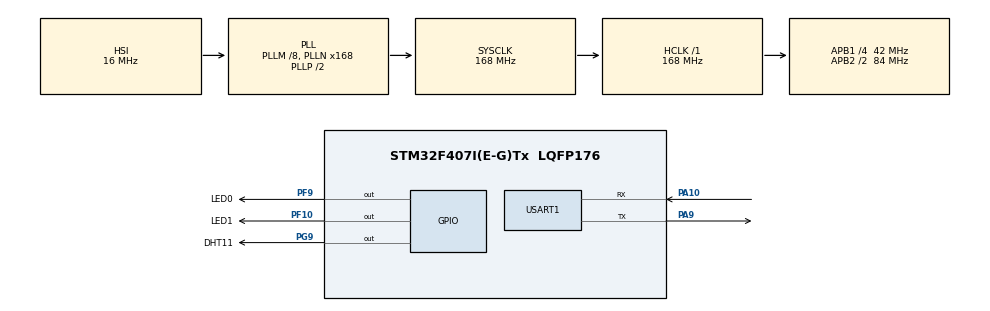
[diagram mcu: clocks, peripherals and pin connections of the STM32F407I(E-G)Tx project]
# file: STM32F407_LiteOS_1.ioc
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Dma.Request0=USART1_RX
Dma.USART1_RX.0.Direction=DMA_PERIPH_TO_MEMORY
Dma.USART1_RX.0.FIFOMode=DMA_FIFOMODE_DISABLE
Dma.USART1_RX.0.Instance=DMA2_Stream5
Dma.USART1_RX.0.MemDataAlignment=DMA_MDATAALIGN_BYTE
Dma.USART1_RX.0.MemInc=DMA_MINC_ENABLE
Dma.USART1_RX.0.Mode=DMA_NORMAL
Dma.USART1_RX.0.PeriphDataAlignment=DMA_PDATAALIGN_BYTE
Dma.USART1_RX.0.PeriphInc=DMA_PINC_DISABLE
Dma.USART1_RX.0.Priority=DMA_PRIORITY_LOW
Mcu.Family=STM32F4
Mcu.Name=STM32F407I(E-G)Tx
Mcu.Package=LQFP176
NVIC.DMA2_Stream5_IRQn=true\:0\:0\:false\:false\:true\:false
NVIC.PriorityGroup=NVIC_PRIORITYGROUP_4
NVIC.USART1_IRQn=true\:0\:0\:false\:false\:true\:true
PA10.Mode=Asynchronous
PA10.Signal=USART1_RX
PA13.Mode=Serial_Wire
PA13.Signal=SYS_JTMS-SWDIO
PA14.Mode=Serial_Wire
PA14.Signal=SYS_JTCK-SWCLK
PA9.Mode=Asynchronous
PA9.Signal=USART1_TX
PF10.GPIO_Label=LED1
PF10.Signal=GPIO_Output
PF9.GPIO_Label=LED0
PF9.Signal=GPIO_Output
PG9.GPIO_Label=DHT11
PG9.GPIO_Speed=GPIO_SPEED_FREQ_HIGH
PG9.Signal=GPIO_Output
PH0-OSC_IN.Mode=HSE-External-Oscillator
PH0-OSC_IN.Signal=RCC_OSC_IN
PH1-OSC_OUT.Mode=HSE-External-Oscillator
PH1-OSC_OUT.Signal=RCC_OSC_OUT
ProjectManager.HeapSize=0x200
ProjectManager.StackSize=0x400
ProjectManager.TargetToolchain=MDK-ARM V5
RCC.48MHZClocksFreq_Value=84000000
RCC.AHBFreq_Value=168000000
RCC.APB1CLKDivider=RCC_HCLK_DIV4
RCC.APB1Freq_Value=42000000
RCC.APB1TimFreq_Value=84000000
RCC.APB2CLKDivider=RCC_HCLK_DIV2
RCC.APB2Freq_Value=84000000
RCC.APB2TimFreq_Value=168000000
RCC.CortexFreq_Value=168000000
RCC.HCLKFreq_Value=168000000
RCC.HSE_VALUE=8000000
RCC.HSI_VALUE=16000000
RCC.LSE_VALUE=32768
RCC.PLLM=4
RCC.PLLN=168
RCC.PLLSourceVirtual=RCC_PLLSOURCE_HSE
RCC.SYSCLKFreq_VALUE=168000000
RCC.SYSCLKSource=RCC_SYSCLKSOURCE_PLLCLK
RCC.VCOOutputFreq_Value=336000000
TIM3.CounterMode=TIM_COUNTERMODE_DOWN
TIM3.Period=1
TIM3.Prescaler=83
USART1.VirtualMode=VM_ASYNC
VP_TIM3_VS_ClockSourceINT.Mode=Internal
board=custom

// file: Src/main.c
/**
  ******************************************************************************
  * @file           : main.c
  * @brief          : Main program body
  ******************************************************************************
  ** This notice applies to any and all portions of this file
  * that are not between comment pairs USER CODE BEGIN and
  * USER CODE END. Other portions of this file, whether
  * inserted by the user or by software development tools
  * are owned by their respective copyright owners.
  *
  * COPYRIGHT(c) 2020 STMicroelectronics
  *
  * Redistribution and use in source and binary forms, with or without modification,
  * are permitted provided that the following conditions are met:
  *   1. Redistributions of source code must retain the above copyright notice,
  *      this list of conditions and the following disclaimer.
  *   2. Redistributions in binary form must reproduce the above copyright notice,
  *      this list of conditions and the following disclaimer in the documentation
  *      and/or other materials provided with the distribution.
  *   3. Neither the name of STMicroelectronics nor the names of its contributors
  *      may be used to endorse or promote products derived from this software
  *      without specific prior written permission.
  *
  * THIS SOFTWARE IS PROVIDED BY THE COPYRIGHT HOLDERS AND CONTRIBUTORS "AS IS"
  * AND ANY EXPRESS OR IMPLIED WARRANTIES, INCLUDING, BUT NOT LIMITED TO, THE
  * IMPLIED WARRANTIES OF MERCHANTABILITY AND FITNESS FOR A PARTICULAR PURPOSE ARE
  * DISCLAIMED. IN NO EVENT SHALL THE COPYRIGHT HOLDER OR CONTRIBUTORS BE LIABLE
  * FOR ANY DIRECT, INDIRECT, INCIDENTAL, SPECIAL, EXEMPLARY, OR CONSEQUENTIAL
  * DAMAGES (INCLUDING, BUT NOT LIMITED TO, PROCUREMENT OF SUBSTITUTE GOODS OR
  * SERVICES; LOSS OF USE, DATA, OR PROFITS; OR BUSINESS INTERRUPTION) HOWEVER
  * CAUSED AND ON ANY THEORY OF LIABILITY, WHETHER IN CONTRACT, STRICT LIABILITY,
  * OR TORT (INCLUDING NEGLIGENCE OR OTHERWISE) ARISING IN ANY WAY OUT OF THE USE
  * OF THIS SOFTWARE, EVEN IF ADVISED OF THE POSSIBILITY OF SUCH DAMAGE.
  *
  ******************************************************************************
  */
#include "main.h"
#include "stm32f4xx_hal.h"
#include "dma.h"
#include "tim.h"
#include "usart.h"
#include "gpio.h"

/* USER CODE BEGIN Includes */
#include "los_sys.h"
#include "los_task.ph"
#include "los_memory.ph"
#include "los_mux.h"

#include "dht11.h"
/* USER CODE END Includes */

/* USER CODE BEGIN PV */
/* Private variables ---------------------------------------------------------*/
//任务句柄变量声明
UINT32 LED0_Task_Handle;
UINT32 LED1_Task_Handle;
UINT32 DHT11_Task_Handle;

/* 创建互斥锁句柄 */
UINT32 MUTEX_OS_Printf_Handle;

/* USER CODE END PV */

void SystemClock_Config(void);

/* USER CODE BEGIN PFP */
/* Private function prototypes -----------------------------------------------*/
static UINT32 AppTaskCreate(void);

static UINT32 Create_LED0_Task(void);
static UINT32 Create_LED1_Task(void);
static UINT32 Create_DHT11_Read_Task(void);

static void Led0_Task(void);
static void Led1_Task(void);
static void Read_DHT11_Data(void);
/* USER CODE END PFP */

int main(void)
{

  /* MCU Configuration----------------------------------------------------------*/

  /* Reset of all peripherals, Initializes the Flash interface and the Systick. */
  HAL_Init();

  /* USER CODE BEGIN Init */

	UINT32 uwRet = LOS_OK;   //定义一个任务创建返回值，默认为创建成功
  /* USER CODE END Init */

  /* Configure the system clock */
  SystemClock_Config();

  /* Initialize all configured peripherals */
  MX_GPIO_Init();
  MX_DMA_Init();
  MX_USART1_UART_Init();
  MX_TIM3_Init();

  /* USER CODE BEGIN 2 */
	 	while(DHT11_Init())	//DHT11初始化
	{
			printf("DHT11初始化失败 \r\n");
	}

	/* 显示shell信息 */
	printf("硬件初始化成功！！\r\n");
	printf("LiteOS内核初始化中......\r\n");

	/* LiteOS 内核初始化 */
	uwRet = LOS_KernelInit();
	if(uwRet != LOS_OK){
		printf("内核初始化失败....\r\n");
	}
	printf("内核初始化成功！！\r\n");
	/* 创建用于创建任务的任务，哈哈 */
	uwRet = AppTaskCreate();
	if(uwRet != LOS_OK){
		printf("任务创建失败....\r\n");
	}

	/* 开启 LiteOS 任务调度 */
	LOS_Start();

  /* USER CODE END 2 */

  /* Infinite loop */
  /* USER CODE BEGIN WHILE */
  while (1)
  {
//		LED0_ON();
//		printf("led on\t\n");
//		HAL_Delay(500);
//		LED0_OFF();
//		printf("led on\t\n");
//		HAL_Delay(500);
  /* USER CODE END WHILE */

  }

}

void SystemClock_Config(void)
{

  RCC_OscInitTypeDef RCC_OscInitStruct;
  RCC_ClkInitTypeDef RCC_ClkInitStruct;

    /**Configure the main internal regulator output voltage
    */
  __HAL_RCC_PWR_CLK_ENABLE();

  __HAL_PWR_VOLTAGESCALING_CONFIG(PWR_REGULATOR_VOLTAGE_SCALE1);

    /**Initializes the CPU, AHB and APB busses clocks
    */
  RCC_OscInitStruct.OscillatorType = RCC_OSCILLATORTYPE_HSI;
  RCC_OscInitStruct.HSIState = RCC_HSI_ON;
  RCC_OscInitStruct.HSICalibrationValue = 16;
  RCC_OscInitStruct.PLL.PLLState = RCC_PLL_ON;
  RCC_OscInitStruct.PLL.PLLSource = RCC_PLLSOURCE_HSI;
  RCC_OscInitStruct.PLL.PLLM = 8;
  RCC_OscInitStruct.PLL.PLLN = 168;
  RCC_OscInitStruct.PLL.PLLP = RCC_PLLP_DIV2;
  RCC_OscInitStruct.PLL.PLLQ = 4;
  if (HAL_RCC_OscConfig(&RCC_OscInitStruct) != HAL_OK)
  {
    _Error_Handler(__FILE__, __LINE__);
  }

    /**Initializes the CPU, AHB and APB busses clocks
    */
  RCC_ClkInitStruct.ClockType = RCC_CLOCKTYPE_HCLK|RCC_CLOCKTYPE_SYSCLK
                              |RCC_CLOCKTYPE_PCLK1|RCC_CLOCKTYPE_PCLK2;
  RCC_ClkInitStruct.SYSCLKSource = RCC_SYSCLKSOURCE_PLLCLK;
  RCC_ClkInitStruct.AHBCLKDivider = RCC_SYSCLK_DIV1;
  RCC_ClkInitStruct.APB1CLKDivider = RCC_HCLK_DIV4;
  RCC_ClkInitStruct.APB2CLKDivider = RCC_HCLK_DIV2;

  if (HAL_RCC_ClockConfig(&RCC_ClkInitStruct, FLASH_LATENCY_5) != HAL_OK)
  {
    _Error_Handler(__FILE__, __LINE__);
  }

    /**Configure the Systick interrupt time
    */
  HAL_SYSTICK_Config(HAL_RCC_GetHCLKFreq()/1000);

    /**Configure the Systick
    */
  HAL_SYSTICK_CLKSourceConfig(SYSTICK_CLKSOURCE_HCLK);

  /* SysTick_IRQn interrupt configuration */
  HAL_NVIC_SetPriority(SysTick_IRQn, 0, 0);
}

/* USER CODE BEGIN 4 */
static UINT32 AppTaskCreate(void){

	/* 创建任务返回值变量，默认为LOS_OK */
	UINT32 uwRet = LOS_OK;

	/* 创建串口资源互斥锁保护串口输出完成一次数据不被打断 */
	uwRet = LOS_MuxCreate(&MUTEX_OS_Printf_Handle);
	if(uwRet != LOS_OK){
		printf("创建串口互斥锁失败 \r\n");
	}

	uwRet =Create_LED0_Task();
	if(uwRet != LOS_OK){
		printf("创建LED0任务失败 \r\n");
	}

	uwRet =Create_LED1_Task();
	if(uwRet != LOS_OK){
		printf("创建LED1任务失败 \r\n");
	}

		uwRet =Create_DHT11_Read_Task();
	if(uwRet != LOS_OK){
		printf("创建DHT11_Read任务失败 \r\n");
	}

	return LOS_OK;
}

static UINT32 Create_LED0_Task(void){
	/* 创建任务返回值变量，默认为LOS_OK */
	UINT32 uwRet = LOS_OK;

	TSK_INIT_PARAM_S tsk_init_param;
	tsk_init_param.pcName = "LED0_Task";
	tsk_init_param.pfnTaskEntry = (TSK_ENTRY_FUNC)Led0_Task;
	tsk_init_param.usTaskPrio = 5;
	tsk_init_param.uwStackSize = 1024;

	uwRet=LOS_TaskCreate(&LED0_Task_Handle,&tsk_init_param);/*创建任务 */
	return uwRet;
}

static UINT32 Create_LED1_Task(void){
	/* 创建任务返回值变量，默认为LOS_OK */
	UINT32 uwRet = LOS_OK;

	TSK_INIT_PARAM_S tsk_init_param;
	tsk_init_param.pcName = "LED1_Task";
	tsk_init_param.pfnTaskEntry = (TSK_ENTRY_FUNC)Led1_Task;
	tsk_init_param.usTaskPrio = 6;
	tsk_init_param.uwStackSize = 1024;

	uwRet=LOS_TaskCreate(&LED1_Task_Handle,&tsk_init_param);/*创建任务 */
	return uwRet;
}

static UINT32 Create_DHT11_Read_Task(void){
	/* 创建任务返回值变量，默认为LOS_OK */
	UINT32 uwRet = LOS_OK;

	TSK_INIT_PARAM_S tsk_init_param;
	tsk_init_param.pcName = "Read_DHT11_Data";
	tsk_init_param.pfnTaskEntry = (TSK_ENTRY_FUNC)Read_DHT11_Data;
	tsk_init_param.usTaskPrio = 7;
	tsk_init_param.uwStackSize = 1024;

	uwRet=LOS_TaskCreate(&DHT11_Task_Handle,&tsk_init_param);/*创建任务 */
	return uwRet;
}

static void Led0_Task(void){
	while(1){
		LED0_ON();
		LOS_TaskDelay(1000);
		//HAL_Delay(1000);
		LED0_OFF();
		LOS_TaskDelay(1000);
		//HAL_Delay(1000);

	}
}

static void Led1_Task(void){
	while(1){

		//OS_Debug_Printf("\r\n进入LED1任务\r\n");
		LED1_ON();
		LOS_TaskDelay(300);
		LED1_OFF();
		LOS_TaskDelay(300);
	}
}

static void Read_DHT11_Data(void){

	uint8_t temp;
	uint8_t humi;

	while(1){
		DHT11_Read_Data(&temp,&humi);
		OS_Debug_Printf("\r\n温度：%d\t湿度：%d\r\n",temp,humi);
		LOS_TaskDelay(500);
	}
}

/* USER CODE END 4 */

void _Error_Handler(char *file, int line)
{
  while(1)
  {
  }
}

/************************ (C) COPYRIGHT STMicroelectronics *****END OF FILE****/
